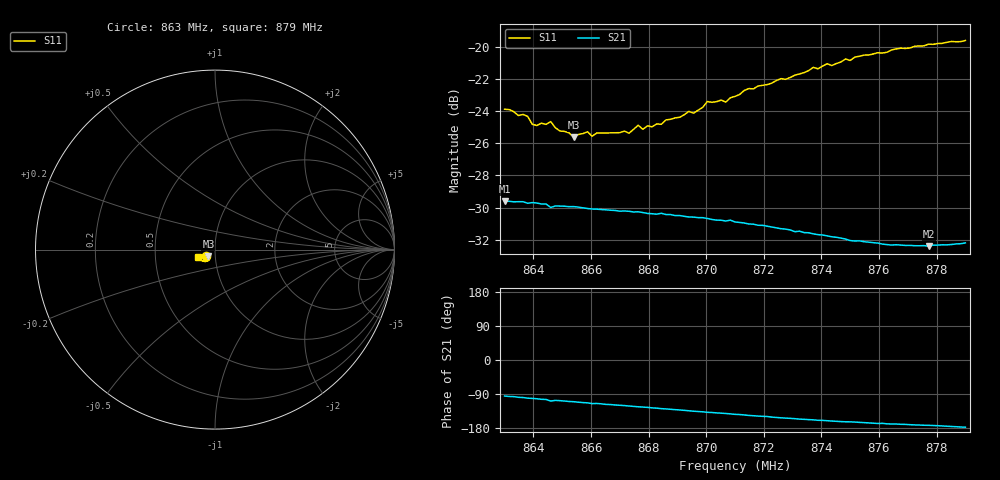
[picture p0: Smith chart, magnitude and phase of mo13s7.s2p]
# HZ S RI R 50
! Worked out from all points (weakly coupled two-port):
!   101 points, 863 MHz to 879 MHz, reference 50 ohm
!   highest |S21| = -29.60 dB at 863 MHz (marker M1); lowest = -32.4 dB at 877.72 MHz (marker M2)
!   lowest |S11| = -25.6 dB at 865.4 MHz (marker M3), VSWR 1.11, Z = 46.3 - j3.48 ohm
!   |S11| at or under -10 dB: start of sweep to end of sweep
!   S12 and S22 are empty: the file has one direction only
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8.63e8  -0.0513 -0.0382  -0.00293 -0.033  0 0  0 0
8.638e8  -0.0479 -0.0374  -0.00601 -0.0321  0 0  0 0
8.6396e8  -0.0447 -0.036  -0.00648 -0.0321  0 0  0 0
8.646e8  -0.045 -0.0375  -0.00994 -0.0301  0 0  0 0
8.6492e8  -0.0402 -0.0371  -0.0095 -0.0305  0 0  0 0
8.654e8  -0.0365 -0.0375  -0.0109 -0.0299  0 0  0 0
8.6572e8  -0.0361 -0.0398  -0.012 -0.0292  0 0  0 0
8.6588e8  -0.0362 -0.0406  -0.0123 -0.0289  0 0  0 0
8.6604e8  -0.0347 -0.0397  -0.0133 -0.0283  0 0  0 0
8.6732e8  -0.032 -0.0433  -0.0161 -0.0263  0 0  0 0
8.6764e8  -0.033 -0.0465  -0.017 -0.0256  0 0  0 0
8.678e8  -0.031 -0.0459  -0.0172 -0.0253  0 0  0 0
8.6844e8  -0.0305 -0.0486  -0.0188 -0.0238  0 0  0 0
8.694e8  -0.0325 -0.0539  -0.0205 -0.0213  0 0  0 0
8.6956e8  -0.0321 -0.0532  -0.0209 -0.0209  0 0  0 0
8.7004e8  -0.0337 -0.0586  -0.0218 -0.0196  0 0  0 0
8.7068e8  -0.0346 -0.0577  -0.0224 -0.018  0 0  0 0
8.71e8  -0.0372 -0.0594  -0.0229 -0.017  0 0  0 0
8.7372e8  -0.0546 -0.0669  -0.0243 -0.00986  0 0  0 0
8.7644e8  -0.078 -0.059  -0.0237 -0.00464  0 0  0 0
8.7772e8  -0.088 -0.0512  -0.0238 -0.00318  0 0  0 0
8.79e8  -0.0964 -0.0405  -0.0245 -0.00115  0 0  0 0
